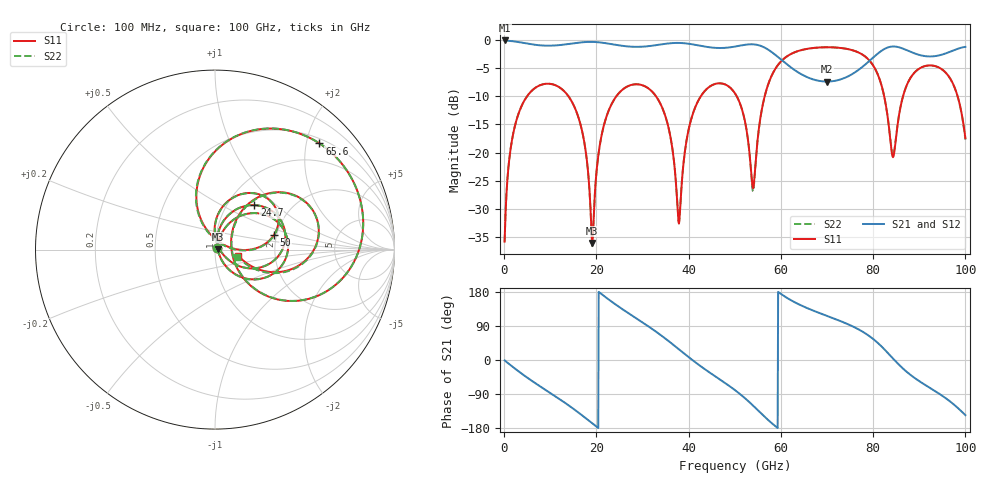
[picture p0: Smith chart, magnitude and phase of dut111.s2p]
! Touchstone file exported from HFSS 2026.1.0
!  File:  C:/ffzhzh/LocalFiles/Ansys_Project_Files/temp_train_TSV_RDL_111_1783457336_28540.aedt
!  Generated:  04:58:08 AM Jul  8, 2026
!  Design:  TSV_RDL
!  Project:  temp_train_TSV_RDL_111_1783457336_28540
! Variables:
!  h_bsmrdl = 3.79um
!  h_ox = 20um
!  h_rdl = 5um
!  h_sub = 67.12um
!  h_tmrdl = 3.58um
!  h_tsv = 67.12um
!  h_via = 3um
!  l_bsmrdl = 530.25um
!  l_sub = 2912.66um
!  l_tmrdl = 199.57um
!  m_sub = 200um
!  pitch = 42.92um
!  r_tsv = 6.96um
!  s_tmrdl = 10um
!  w_bsmrdl = 29.1um
!  w_sub = 500um
!  w_tmrdl = 12.11um
!  x_tsv_center1 = 205.625um
!  x_tsv_center2 = 764.975um
!  x_tsv_center3 = 976.655um
!  x_tsv_center4 = 1536.005um
!  x_tsv_center5 = 1747.685um
!  x_tsv_center6 = 2307.035um
# GHz S MA R 50.000000
! Terminal data exported
! Port[1] = TM_RDL1_1_T1
! Port[2] = TM_RDL5_1_T1
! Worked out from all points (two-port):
!   1000 points, 100 MHz to 100 GHz, reference 50 ohm
!   highest |S21| = -0.12 dB at 100 MHz (marker M1); lowest = -7.4 dB at 70 GHz (marker M2)
!   |S21| within 3 dB of the highest: start of sweep to 59.47 GHz; 80.04 GHz to end of sweep
!   lowest |S11| = -36.0 dB at 19.1 GHz (marker M3), VSWR 1.03, Z = 51.6 + j0.258 ohm
!   |S11| at or under -10 dB: 13.94 GHz to 24.33 GHz (10.4 GHz wide, 54.3 % of centre); 32.92 GHz to 42.64 GHz (9.722 GHz wide, 25.7 % of centre); 50.42 GHz to 56.48 GHz (6.065 GHz wide, 11.3 % of centre) (the widest 3 of 6)
!   |S22| runs from -36.6 to -1.3 dB; largest |S21 - S12| = 1.3e-13
!   S11 on the Smith chart (normalised r, x): 100 MHz: 1.03, +0.02; 24.7 GHz: 1.33, +0.74; 50 GHz: 1.93, +0.35; 65.6 GHz: 0.59, +2.25; 100 GHz: 1.29, -0.09
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0.1  0.01629 31.4  0.9862 -1.0  0.9862 -1.0  0.01629 31.4
! Gamma 0 0 0 0
! Port Impedance 50 0 50 0
1.8  0.1364 64.6  0.9722 -17.5  0.9722 -17.5  0.1364 64.6
5.3  0.3293 37.1  0.9208 -49.1  0.9208 -49.1  0.3293 37.1
16.8  0.162 -52.2  0.9497 -145.1  0.9497 -145.1  0.162 -52.6
19.1  0.01589 9.1  0.9575 -167.0  0.9575 -167.0  0.01487 8.3
21.2  0.1475 75.3  0.943 173.1  0.943 173.1  0.1472 75.6
24.7  0.3306 48.5  0.8951 141.9  0.8951 141.9  0.3304 48.7
33.4  0.2949 -17.8  0.9019 70.6  0.9019 70.6  0.2948 -17.7
37.9  0.02353 30.2  0.9376 28.1  0.9376 28.1  0.02426 30.4
41.9  0.2791 75.1  0.8948 -10.1  0.8948 -10.1  0.2793 74.8
50  0.3376 13.8  0.8701 -79.1  0.8701 -79.1  0.3375 13.4
50.1  0.3328 13.1  0.8715 -80.0  0.8715 -80.0  0.3327 12.6
54  0.04859 61.1  0.9113 -120.7  0.9113 -120.7  0.04543 61.2
57.7  0.4514 98.9  0.7945 -163.4  0.7945 -163.4  0.4511 99.2
65.6  0.8299 45.5  0.4685 137.5  0.4685 137.5  0.8298 45.5
66.7  0.843 40.3  0.4498 131.9  0.4498 131.9  0.8429 40.4
70  0.8586 26.0  0.4266 116.4  0.4266 116.4  0.8586 26.0
79.5  0.6331 -23.7  0.6671 60.2  0.6671 60.2  0.6332 -23.6
83.4  0.172 -41.5  0.8607 15.8  0.8607 15.8  0.1732 -40.9
87.6  0.4223 47.3  0.7987 -34.5  0.7987 -34.5  0.4228 46.8
92.8  0.5914 13.0  0.7127 -77.3  0.7127 -77.3  0.5914 12.5
100  0.1345 -15.0  0.8652 -145.5  0.8652 -145.5  0.1305 -17.2
